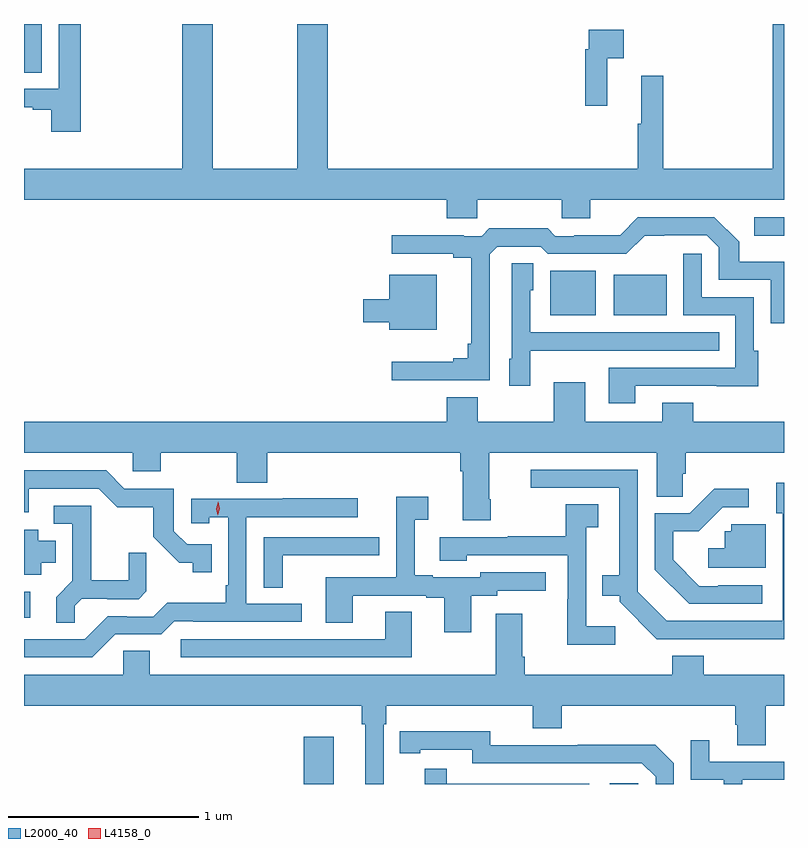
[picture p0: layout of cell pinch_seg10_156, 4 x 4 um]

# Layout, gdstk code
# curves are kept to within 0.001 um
import gdstk
lib = gdstk.Library(unit=1e-6, precision=1e-09)
def R(c, l, rs):  # rectangles x0, y0, x1, y1
    for r in rs: c.add(gdstk.rectangle(r[:2], r[2:], *l))
def P(c, l, *ps):  # polygons
    for p in ps: c.add(gdstk.Polygon(p, *l))
L2000_40 = (2000, 40)
L4158_0 = (4158, 0)

pinch_seg10_156 = lib.new_cell('pinch_seg10_156')
R(pinch_seg10_156, L2000_40, [(735.668,1286.585,735.826,1286.833), (737.28,1286.585,737.43,1286.59), (734.196,1287.461,734.23,1287.597), (736.967,1289.051,737.206,1289.287), (737.3,1289.051,737.578,1289.266), (738.039,1289.471,738.196,1289.568), (734.196,1290.328,734.29,1290.585)])
P(pinch_seg10_156, L2000_40, [(736.581,1289.66),(737.026,1289.66),(737.026,1289.562),(737.176,1289.562),(737.176,1289.66),(738.196,1289.66),(738.196,1290.585),(738.137,1290.585),(738.137,1289.824),(737.561,1289.824),(737.561,1290.313),(737.444,1290.313),(737.444,1290.06),(737.425,1290.06),(737.425,1289.824),(735.794,1289.824),(735.794,1290.585),(735.634,1290.585),(735.634,1289.824),(735.189,1289.824),(735.189,1290.585),(735.029,1290.585),(735.029,1289.824),(734.196,1289.824),(734.196,1289.66),(736.421,1289.66),(736.421,1289.562),(736.581,1289.562)],
  [(734.495,1290.585),(734.379,1290.585),(734.379,1290.243),(734.196,1290.243),(734.196,1290.147),(734.243,1290.147),(734.243,1290.135),(734.339,1290.135),(734.339,1290.018),(734.495,1290.018)],
  [(737.267,1290.404),(737.353,1290.404),(737.353,1290.556),(737.169,1290.556),(737.169,1290.452),(737.149,1290.452),(737.149,1290.156),(737.267,1290.156)],
  [(736.647,1289.373),(736.686,1289.412),(736.917,1289.412),(736.953,1289.376),(737.367,1289.376),(737.462,1289.471),(737.79,1289.472),(737.853,1289.409),(737.853,1289.238),(738.126,1289.238),(738.126,1289.01),(738.196,1289.01),(738.196,1289.335),(737.961,1289.335),(737.961,1289.438),(737.83,1289.568),(737.427,1289.568),(737.333,1289.474),(737.092,1289.474),(737.092,1289.469),(736.992,1289.469),(736.953,1289.509),(736.645,1289.509),(736.605,1289.469),(736.511,1289.469),(736.511,1289.474),(736.131,1289.474),(736.131,1289.376),(736.454,1289.376),(736.454,1289.354),(736.55,1289.354),(736.55,1288.903),(736.531,1288.903),(736.531,1288.826),(736.454,1288.826),(736.454,1288.807),(736.131,1288.807),(736.131,1288.71),(736.647,1288.71)],
  [(737.413,1288.68),(737.843,1288.68),(737.843,1288.679),(738.061,1288.679),(738.061,1288.866),(738.036,1288.866),(738.036,1289.148),(737.763,1289.148),(737.763,1289.377),(737.667,1289.377),(737.667,1289.052),(737.94,1289.052),(737.94,1288.776),(737.273,1288.776),(737.273,1288.59),(737.413,1288.59)],
  [(736.86,1288.865),(737.177,1288.865),(737.177,1288.866),(737.855,1288.866),(737.855,1288.962),(736.86,1288.962),(736.86,1289.184),(736.876,1289.184),(736.876,1289.327),(736.764,1289.327),(736.764,1288.824),(736.751,1288.824),(736.751,1288.68),(736.86,1288.68)],
  [(736.369,1289.266),(736.118,1289.266),(736.118,1289.137),(735.981,1289.137),(735.981,1289.015),(736.118,1289.015),(736.118,1288.976),(736.369,1288.976)],
  [(736.653,1288.084),(736.645,1288.084),(736.645,1288.328),(737.525,1288.328),(737.525,1288.096),(737.663,1288.096),(737.663,1288.218),(737.678,1288.218),(737.678,1288.328),(738.196,1288.328),(738.196,1288.492),(737.719,1288.492),(737.719,1288.591),(737.555,1288.591),(737.555,1288.492),(737.149,1288.492),(737.149,1288.699),(736.985,1288.699),(736.985,1288.492),(736.585,1288.492),(736.585,1288.621),(736.421,1288.621),(736.421,1288.492),(734.196,1288.492),(734.196,1288.328),(734.769,1288.328),(734.769,1288.23),(734.916,1288.23),(734.916,1288.328),(735.316,1288.328),(735.316,1288.171),(735.476,1288.171),(735.476,1288.328),(736.493,1288.328),(736.493,1288.232),(736.505,1288.232),(736.505,1287.972),(736.653,1287.972)],
  [(738.196,1288.171),(738.155,1288.171),(738.155,1288.01),(738.189,1288.01),(738.189,1287.444),(737.58,1287.444),(737.427,1287.597),(737.427,1288.239),(736.863,1288.239),(736.863,1288.143),(737.33,1288.143),(737.33,1287.685),(737.239,1287.685),(737.239,1287.575),(737.331,1287.575),(737.331,1287.543),(737.526,1287.348),(738.196,1287.347)],
  [(735.185,1287.846),(735.054,1287.846),(734.985,1287.915),(734.985,1288.14),(734.724,1288.14),(734.628,1288.236),(734.196,1288.236),(734.196,1288.014),(734.221,1288.014),(734.221,1288.14),(734.589,1288.14),(734.688,1288.042),(734.877,1288.042),(734.877,1287.886),(735.014,1287.749),(735.084,1287.749),(735.084,1287.699),(735.185,1287.699)],
  [(738.082,1287.63),(737.851,1287.63),(737.851,1287.627),(737.751,1287.627),(737.614,1287.764),(737.614,1287.914),(737.747,1287.914),(737.874,1288.041),(738.01,1288.041),(738.01,1288.139),(737.828,1288.139),(737.7,1288.011),(737.517,1288.011),(737.517,1287.713),(737.696,1287.534),(738.082,1287.534)],
  [(736.549,1287.576),(736.686,1287.576),(736.686,1287.603),(736.942,1287.603),(736.942,1287.699),(736.596,1287.699),(736.596,1287.672),(736.348,1287.672),(736.348,1287.685),(736.252,1287.685),(736.252,1287.976),(736.324,1287.976),(736.324,1288.096),(736.155,1288.096),(736.155,1287.672),(735.785,1287.672),(735.785,1287.433),(735.925,1287.433),(735.925,1287.576),(736.313,1287.576),(736.313,1287.564),(736.409,1287.564),(736.409,1287.384),(736.549,1287.384)],
  [(734.676,1287.372),(734.919,1287.372),(734.988,1287.441),(735.088,1287.441),(735.088,1287.438),(735.658,1287.438),(735.658,1287.534),(735.366,1287.534),(735.366,1287.99),(735.952,1287.99),(735.952,1288.089),(735.559,1288.089),(735.559,1288.086),(735.075,1288.086),(735.075,1287.957),(735.171,1287.957),(735.171,1287.989),(735.27,1287.989),(735.27,1287.631),(735.258,1287.631),(735.258,1287.538),(734.95,1287.538),(734.877,1287.465),(734.738,1287.465),(734.738,1287.468),(734.637,1287.468),(734.517,1287.348),(734.196,1287.348),(734.196,1287.252),(734.556,1287.252)],
  [(737.308,1287.415),(737.154,1287.415),(737.154,1287.937),(737.218,1287.937),(737.218,1288.058),(737.046,1288.058),(737.046,1287.888),(736.741,1287.888),(736.741,1287.885),(736.383,1287.885),(736.383,1287.761),(736.527,1287.761),(736.527,1287.789),(737.058,1287.789),(737.058,1287.557),(737.056,1287.557),(737.056,1287.317),(737.308,1287.317)],
  [(734.463,1287.524),(734.5,1287.561),(734.634,1287.561),(734.634,1287.558),(734.799,1287.558),(734.84,1287.599),(734.84,1287.801),(734.746,1287.801),(734.746,1287.658),(734.549,1287.658),(734.549,1288.05),(734.352,1288.05),(734.352,1287.954),(734.451,1287.954),(734.451,1287.655),(734.365,1287.569),(734.365,1287.433),(734.463,1287.433)],
  [(738.1,1287.951),(737.919,1287.951),(737.919,1287.915),(737.883,1287.915),(737.883,1287.826),(737.796,1287.826),(737.796,1287.723),(738.1,1287.723)],
  [(734.287,1287.749),(734.362,1287.749),(734.362,1287.865),(734.272,1287.865),(734.272,1287.922),(734.196,1287.922),(734.196,1287.686),(734.287,1287.686)],
  [(735.558,1287.789),(735.953,1287.789),(735.953,1287.79),(736.066,1287.79),(736.066,1287.885),(735.459,1287.885),(735.459,1287.619),(735.558,1287.619)],
  [(736.237,1287.491),(736.097,1287.491),(736.097,1287.348),(735.021,1287.348),(735.021,1287.252),(736.237,1287.252)],
  [(736.089,1286.9),(736.103,1286.9),(736.103,1286.996),(736.874,1286.996),(736.874,1286.879),(737.027,1286.879),(737.027,1286.996),(737.939,1286.996),(737.939,1286.898),(737.951,1286.898),(737.951,1286.788),(738.099,1286.788),(738.099,1286.996),(738.196,1286.996),(738.196,1287.16),(737.774,1287.16),(737.774,1287.259),(737.609,1287.259),(737.609,1287.16),(736.832,1287.16),(736.832,1287.256),(736.819,1287.256),(736.819,1287.481),(736.679,1287.481),(736.679,1287.16),(734.857,1287.16),(734.857,1287.287),(734.718,1287.287),(734.718,1287.16),(734.196,1287.16),(734.196,1286.996),(735.973,1286.996),(735.973,1286.9),(735.992,1286.9),(735.992,1286.585),(736.089,1286.585)],
  [(737.616,1286.694),(737.518,1286.792),(737.11,1286.792),(737.11,1286.79),(736.65,1286.79),(736.65,1286.863),(736.174,1286.862),(736.174,1286.746),(736.282,1286.746),(736.282,1286.766),(736.554,1286.766),(736.554,1286.694),(737.448,1286.694),(737.52,1286.622),(737.52,1286.585),(737.616,1286.585)],
  [(737.976,1286.607),(738.196,1286.607),(738.196,1286.703),(737.803,1286.703),(737.803,1286.815),(737.706,1286.815),(737.706,1286.607),(737.88,1286.607),(737.88,1286.585),(737.976,1286.585)],
  [(737.17,1286.586),(736.421,1286.586),(736.421,1286.665),(736.304,1286.665),(736.304,1286.585),(737.17,1286.585)])
P(pinch_seg10_156, L4158_0, [(735.217,1287.999),(735.217,1287.999),(735.207,1288.035),(735.218,1288.071),(735.218,1288.071),(735.218,1288.071),(735.227,1288.035),(735.217,1287.999)])

lib.write_gds('pinch_seg10_156.gds')
